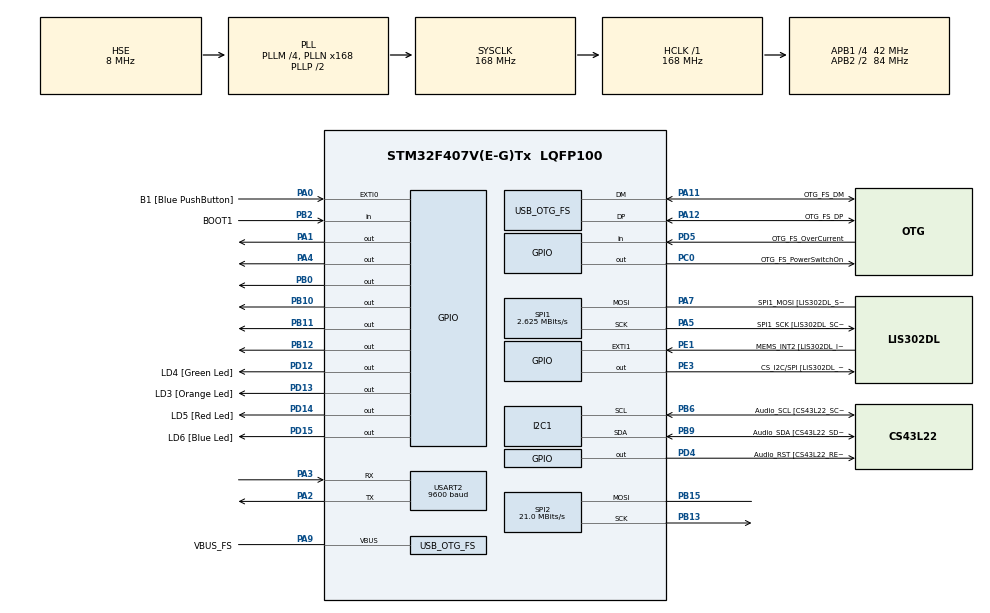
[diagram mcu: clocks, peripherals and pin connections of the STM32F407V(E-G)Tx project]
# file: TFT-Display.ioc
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Mcu.Family=STM32F4
Mcu.Name=STM32F407V(E-G)Tx
Mcu.Package=LQFP100
NVIC.OTG_FS_IRQn=true\:0\:0\:false\:false\:true\:true\:true\:true
NVIC.PriorityGroup=NVIC_PRIORITYGROUP_0
PA0-WKUP.GPIO_Label=B1 [Blue PushButton]
PA0-WKUP.GPIO_ModeDefaultEXTI=GPIO_MODE_EVT_RISING
PA0-WKUP.GPIO_PuPd=GPIO_NOPULL
PA0-WKUP.Signal=GPXTI0
PA1.Signal=GPIO_Output
PA10.GPIO_Label=OTG_FS_ID
PA10.GPIO_Mode=GPIO_MODE_AF_PP
PA10.GPIO_PuPd=GPIO_NOPULL
PA10.GPIO_Speed=GPIO_SPEED_FREQ_LOW
PA10.Signal=USB_OTG_FS_ID
PA11.GPIO_Label=OTG_FS_DM
PA11.GPIO_Mode=GPIO_MODE_AF_PP
PA11.GPIO_PuPd=GPIO_NOPULL
PA11.GPIO_Speed=GPIO_SPEED_FREQ_LOW
PA11.Mode=Host_Only
PA11.Signal=USB_OTG_FS_DM
PA12.GPIO_Label=OTG_FS_DP
PA12.GPIO_Mode=GPIO_MODE_AF_PP
PA12.GPIO_PuPd=GPIO_NOPULL
PA12.GPIO_Speed=GPIO_SPEED_FREQ_LOW
PA12.Mode=Host_Only
PA12.Signal=USB_OTG_FS_DP
PA13.GPIO_Label=SWDIO
PA13.Mode=Serial_Wire
PA13.Signal=SYS_JTMS-SWDIO
PA14.GPIO_Label=SWCLK
PA14.Mode=Serial_Wire
PA14.Signal=SYS_JTCK-SWCLK
PA2.Mode=Asynchronous
PA2.Signal=USART2_TX
PA3.Mode=Asynchronous
PA3.Signal=USART2_RX
PA4.Signal=GPIO_Output
PA5.GPIO_Label=SPI1_SCK [LIS302DL_SCL/SPC]
PA5.GPIO_Mode=GPIO_MODE_AF_PP
PA5.GPIO_PuPd=GPIO_NOPULL
PA5.GPIO_Speed=GPIO_SPEED_FREQ_LOW
PA5.Mode=Simplex_Bidirectional_Master
PA5.Signal=SPI1_SCK
PA6.GPIO_Label=SPI1_MISO [LIS302DL_SDO]
PA6.GPIO_Mode=GPIO_MODE_AF_PP
PA6.GPIO_PuPd=GPIO_NOPULL
PA6.GPIO_Speed=GPIO_SPEED_FREQ_LOW
PA6.Signal=SPI1_MISO
PA7.GPIO_Label=SPI1_MOSI [LIS302DL_SDA/SDI/SDO]
PA7.GPIO_Mode=GPIO_MODE_AF_PP
PA7.GPIO_PuPd=GPIO_NOPULL
PA7.GPIO_Speed=GPIO_SPEED_FREQ_LOW
PA7.Mode=Simplex_Bidirectional_Master
PA7.Signal=SPI1_MOSI
PA9.GPIO_Label=VBUS_FS
PA9.GPIO_Mode=GPIO_MODE_INPUT
PA9.GPIO_PuPd=GPIO_NOPULL
PA9.Mode=Activate_VBUS
PA9.Signal=USB_OTG_FS_VBUS
PB0.Signal=GPIO_Output
PB10.Signal=GPIO_Output
PB11.Signal=GPIO_Output
PB12.Signal=GPIO_Output
PB13.Mode=Simplex_Bidirectional_Master
PB13.Signal=SPI2_SCK
PB15.Mode=Simplex_Bidirectional_Master
PB15.Signal=SPI2_MOSI
PB2.GPIO_Label=BOOT1
PB2.GPIO_Mode=GPIO_MODE_INPUT
PB2.GPIO_PuPd=GPIO_NOPULL
PB2.Signal=GPIO_Input
PB3.GPIO_Label=SWO
PB3.Signal=SYS_JTDO-SWO
PB6.GPIO_Label=Audio_SCL [CS43L22_SCL]
PB6.GPIO_Mode=GPIO_MODE_AF_OD
PB6.GPIO_Pu=GPIO_PULLUP
PB6.GPIO_PuPd=GPIO_NOPULL
PB6.GPIO_Speed=GPIO_SPEED_FREQ_LOW
PB6.Mode=I2C
PB6.Signal=I2C1_SCL
PB9.GPIO_Label=Audio_SDA [CS43L22_SDA]
PB9.GPIO_Mode=GPIO_MODE_AF_OD
PB9.GPIO_Pu=GPIO_PULLUP
PB9.GPIO_PuPd=GPIO_NOPULL
PB9.GPIO_Speed=GPIO_SPEED_FREQ_LOW
PB9.Mode=I2C
PB9.Signal=I2C1_SDA
PC0.GPIO_Label=OTG_FS_PowerSwitchOn
PC0.GPIO_PuPd=GPIO_NOPULL
PC0.GPIO_Speed=GPIO_SPEED_FREQ_LOW
PC0.PinState=GPIO_PIN_SET
PC0.Signal=GPIO_Output
PC10.GPIO_Label=I2S3_SCK [CS43L22_SCLK]
PC10.GPIO_Mode=GPIO_MODE_AF_PP
PC10.GPIO_PuPd=GPIO_NOPULL
PC10.GPIO_Speed=GPIO_SPEED_FREQ_LOW
PC10.Signal=I2S3_CK
PC12.GPIO_Label=I2S3_SD [CS43L22_SDIN]
PC12.GPIO_Mode=GPIO_MODE_AF_PP
PC12.GPIO_PuPd=GPIO_NOPULL
PC12.GPIO_Speed=GPIO_SPEED_FREQ_LOW
PC12.Signal=I2S3_SD
PC14-OSC32_IN.GPIO_Label=PC14-OSC32_IN
PC14-OSC32_IN.Mode=LSE-External-Oscillator
PC14-OSC32_IN.Signal=RCC_OSC32_IN
PC15-OSC32_OUT.GPIO_Label=PC15-OSC32_OUT
PC15-OSC32_OUT.Mode=LSE-External-Oscillator
PC15-OSC32_OUT.Signal=RCC_OSC32_OUT
PC3.GPIO_Label=PDM_OUT [MP45DT02_DOUT]
PC3.GPIO_Mode=GPIO_MODE_AF_PP
PC3.GPIO_PuPd=GPIO_NOPULL
PC3.GPIO_Speed=GPIO_SPEED_FREQ_LOW
PC3.Signal=I2S2_SD
PC7.GPIO_Label=I2S3_MCK [CS43L22_MCLK]
PC7.GPIO_Mode=GPIO_MODE_AF_PP
PC7.GPIO_PuPd=GPIO_NOPULL
PC7.GPIO_Speed=GPIO_SPEED_FREQ_LOW
PC7.Signal=I2S3_MCK
PD12.GPIO_Label=LD4 [Green Led]
PD12.GPIO_PuPd=GPIO_NOPULL
PD12.GPIO_Speed=GPIO_SPEED_FREQ_LOW
PD12.Signal=GPIO_Output
PD13.GPIO_Label=LD3 [Orange Led]
PD13.GPIO_PuPd=GPIO_NOPULL
PD13.GPIO_Speed=GPIO_SPEED_FREQ_LOW
PD13.Signal=GPIO_Output
PD14.GPIO_Label=LD5 [Red Led]
PD14.GPIO_PuPd=GPIO_NOPULL
PD14.GPIO_Speed=GPIO_SPEED_FREQ_LOW
PD14.Signal=GPIO_Output
PD15.GPIO_Label=LD6 [Blue Led]
PD15.GPIO_PuPd=GPIO_NOPULL
PD15.GPIO_Speed=GPIO_SPEED_FREQ_LOW
PD15.Signal=GPIO_Output
PD4.GPIO_Label=Audio_RST [CS43L22_RESET]
PD4.GPIO_PuPd=GPIO_NOPULL
PD4.GPIO_Speed=GPIO_SPEED_FREQ_LOW
PD4.Signal=GPIO_Output
PD5.GPIO_Label=OTG_FS_OverCurrent
PD5.GPIO_Mode=GPIO_MODE_INPUT
PD5.GPIO_PuPd=GPIO_NOPULL
PD5.Signal=GPIO_Input
PE1.GPIO_Label=MEMS_INT2 [LIS302DL_INT2]
PE1.GPIO_ModeDefaultEXTI=GPIO_MODE_EVT_RISING
PE1.GPIO_PuPd=GPIO_NOPULL
PE1.Signal=GPXTI1
PE3.GPIO_Label=CS_I2C/SPI [LIS302DL_CS_I2C/SPI]
PE3.GPIO_PuPd=GPIO_NOPULL
PE3.GPIO_Speed=GPIO_SPEED_FREQ_LOW
PE3.Signal=GPIO_Output
PH0-OSC_IN.GPIO_Label=PH0-OSC_IN
PH0-OSC_IN.Mode=HSE-External-Oscillator
PH0-OSC_IN.Signal=RCC_OSC_IN
PH1-OSC_OUT.GPIO_Label=PH1-OSC_OUT
PH1-OSC_OUT.Mode=HSE-External-Oscillator
PH1-OSC_OUT.Signal=RCC_OSC_OUT
ProjectManager.HeapSize=0x200
ProjectManager.StackSize=0x400
ProjectManager.TargetToolchain=STM32CubeIDE
RCC.48MHZClocksFreq_Value=48000000
RCC.AHBFreq_Value=168000000
RCC.APB1CLKDivider=RCC_HCLK_DIV4
RCC.APB1Freq_Value=42000000
RCC.APB1TimFreq_Value=84000000
RCC.APB2CLKDivider=RCC_HCLK_DIV2
RCC.APB2Freq_Value=84000000
RCC.APB2TimFreq_Value=168000000
RCC.CortexFreq_Value=168000000
RCC.HCLKFreq_Value=168000000
RCC.HSE_VALUE=8000000
RCC.HSI_VALUE=16000000
RCC.PLLM=4
RCC.PLLN=168
RCC.PLLQ=7
RCC.SYSCLKFreq_VALUE=168000000
RCC.SYSCLKSource=RCC_SYSCLKSOURCE_PLLCLK
RCC.VCOOutputFreq_Value=336000000
SPI1.BaudRatePrescaler=SPI_BAUDRATEPRESCALER_32
SPI1.CalculateBaudRate=2.625 MBits/s
SPI1.Direction=SPI_DIRECTION_1LINE
SPI1.Mode=SPI_MODE_MASTER
SPI1.VirtualType=VM_MASTER
SPI2.CalculateBaudRate=21.0 MBits/s
SPI2.Direction=SPI_DIRECTION_1LINE
SPI2.Mode=SPI_MODE_MASTER
SPI2.VirtualType=VM_MASTER
USART2.BaudRate=9600
USART2.VirtualMode=VM_ASYNC
USB_HOST.BSP.number=1
USB_HOST.USBH_HandleTypeDef-CDC_FS=hUsbHostFS
USB_HOST.VirtualModeFS=Cdc
USB_HOST0.BSP.STBoard=false
USB_HOST0.BSP.api=Unknown
USB_HOST0.BSP.instance=PC0
USB_HOST0.BSP.ip=GPIO
USB_HOST0.BSP.mode=Output
USB_HOST0.BSP.name=Drive_VBUS_FS
USB_HOST0.BSP.solution=PC0
USB_OTG_FS.VirtualMode=Host_Only
USB_OTG_FS.phy_itface=HCD_PHY_EMBEDDED
VP_USB_HOST_VS_USB_HOST_CDC_FS.Mode=CDC_FS
board=STM32F407G-DISC1

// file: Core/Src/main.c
/* USER CODE BEGIN Header */
/**
 ******************************************************************************
 * @file           : main.c
 * @brief          : Main program body
 ******************************************************************************
 * @attention
 *
 * Copyright (c) 2025 STMicroelectronics.
 * All rights reserved.
 *
 * This software is licensed under terms that can be found in the LICENSE file
 * in the root directory of this software component.
 * If no LICENSE file comes with this software, it is provided AS-IS.
 *
 ******************************************************************************
 */
/* USER CODE END Header */
#include "main.h"
#include "usb_host.h"
#include "st7735.h"
#include "fonts.h"

I2C_HandleTypeDef hi2c1;

SPI_HandleTypeDef hspi1;
SPI_HandleTypeDef hspi2;

UART_HandleTypeDef huart2;

void SystemClock_Config(void);
static void MX_GPIO_Init(void);
static void MX_I2C1_Init(void);
static void MX_SPI1_Init(void);
static void MX_SPI2_Init(void);
static void MX_USART2_UART_Init(void);
void MX_USB_HOST_Process(void);

/* USER CODE BEGIN 0 */

void HelloWorld(void) {
	// This function can be used to print "Hello World!" to the console or display
	// For example, using UART:
	HAL_UART_Transmit(&huart2, (uint8_t*) "Hello World!\r\n", 15,
	HAL_MAX_DELAY);
	ST7735_WriteString(20, 60, "Hello World!", Font_7x10, ST7735_WHITE,
	ST7735_BLACK);
	HAL_Delay(1000); // Delay to see the message
}
void ST7735_Test(void) {
	// Ekran sınırlarını kontrol et
	ST7735_FillScreen(ST7735_BLACK);

	// Çerçeve çiz (ekranın çalıştığını doğrulamak için)
	for (int x = 0; x < ST7735_WIDTH; x++) {
		ST7735_DrawPixel(x, 0, ST7735_RED);
		ST7735_DrawPixel(x, ST7735_HEIGHT - 1, ST7735_RED);
	}

	for (int y = 0; y < ST7735_HEIGHT; y++) {
		ST7735_DrawPixel(0, y, ST7735_RED);
		ST7735_DrawPixel(ST7735_WIDTH - 1, y, ST7735_RED);
	}

	HAL_Delay(1000);

	// Farklı fontları test et
	ST7735_FillScreen(ST7735_BLACK);
	ST7735_WriteString(0, 0, "Font_7x10", Font_7x10, ST7735_RED, ST7735_BLACK);
	ST7735_WriteString(0, 3 * 10, "Font_11x18", Font_11x18, ST7735_GREEN,
	ST7735_BLACK);

	HAL_Delay(1000);

	// Farklı renkleri test et
	ST7735_FillScreen(ST7735_BLACK);
	ST7735_WriteString(0, 0, "SIYAH", Font_11x18, ST7735_WHITE, ST7735_BLACK);
	HAL_Delay(500);

	ST7735_FillScreen(ST7735_BLUE);
	ST7735_WriteString(0, 0, "MAVI", Font_11x18, ST7735_WHITE, ST7735_BLUE);
	HAL_Delay(500);

	ST7735_FillScreen(ST7735_RED);
	ST7735_WriteString(0, 0, "KIRMIZI", Font_11x18, ST7735_WHITE, ST7735_RED);
	HAL_Delay(500);

	ST7735_FillScreen(ST7735_GREEN);
	ST7735_WriteString(0, 0, "YESIL", Font_11x18, ST7735_BLACK, ST7735_GREEN);
	HAL_Delay(500);

	// Merhaba dünya mesajı
	ST7735_FillScreen(ST7735_BLACK);
	ST7735_WriteString(15, 10, "STM32F4", Font_11x18, ST7735_CYAN,
	ST7735_BLACK);
	ST7735_WriteString(10, 30, "TFT Display", Font_11x18, ST7735_GREEN,
	ST7735_BLACK);
	ST7735_WriteString(20, 60, "Merhaba", Font_11x18, ST7735_WHITE,
	ST7735_BLACK);
	ST7735_WriteString(35, 80, "Dunya!", Font_11x18, ST7735_YELLOW,
	ST7735_BLACK);

	// Tarih bilgisi
	char tarih[] = "Mart 2024";
	ST7735_WriteString(25, 110, tarih, Font_7x10, ST7735_RED, ST7735_BLACK);

	HAL_Delay(1000);
}

uint8_t ST7735_Check(void) {
	uint8_t status = 0;
	uint8_t id[4] = { 0 };

	// Set CS and DC pins
	HAL_GPIO_WritePin(GPIOA, GPIO_PIN_4, GPIO_PIN_RESET); // CS low (select)
	HAL_GPIO_WritePin(GPIOA, GPIO_PIN_1, GPIO_PIN_RESET); // DC low (command)

	// Send read ID command
	uint8_t cmd = 0x04; // RDDID command
	HAL_SPI_Transmit(&hspi1, &cmd, 1, HAL_MAX_DELAY);

	// Set DC high (data)
	HAL_GPIO_WritePin(GPIOA, GPIO_PIN_1, GPIO_PIN_SET);

	// Read ID bytes (manufacturer ID, module version ID, module ID)
	HAL_SPI_Receive(&hspi1, id, 3, HAL_MAX_DELAY);

	// Release CS
	HAL_GPIO_WritePin(GPIOA, GPIO_PIN_4, GPIO_PIN_SET);

	// Check manufacturer ID (typically 0x7C for ST7735)
	if (id[0] == 0x7C) {
		status = 1; // Display found
	}

	return status;
}

/* USER CODE END 0 */

int main(void) {

	/* MCU Configuration--------------------------------------------------------*/

	/* Reset of all peripherals, Initializes the Flash interface and the Systick. */
	HAL_Init();

	/* Configure the system clock */
	SystemClock_Config();

	/* Initialize all configured peripherals */
	MX_GPIO_Init();
	MX_I2C1_Init();
	MX_SPI1_Init();
	MX_USB_HOST_Init();
	MX_SPI2_Init();
	MX_USART2_UART_Init();
	/* USER CODE BEGIN 2 */

	// UART üzerinden bilgi mesajı
	HAL_UART_Transmit(&huart2, (uint8_t*) "ST7735 Testi Basliyor...\r\n", 26,
	HAL_MAX_DELAY);

	// SPI1'i bidirectional olarak yapılandır
	hspi1.Init.Direction = SPI_DIRECTION_2LINES;
	if (HAL_SPI_Init(&hspi1) != HAL_OK) {
		Error_Handler();
	}

	// Resetleme işlemini burada manuel olarak yap
	HAL_GPIO_WritePin(GPIOB, GPIO_PIN_0, GPIO_PIN_RESET);  // RESET low
	HAL_Delay(10);  // 10ms bekle
	HAL_GPIO_WritePin(GPIOB, GPIO_PIN_0, GPIO_PIN_SET);    // RESET high
	HAL_Delay(120); // 120ms bekle

	// Ekranı doğrudan başlat ve testi çalıştır
	ST7735_Init();
	ST7735_FillScreen(ST7735_BLACK);

	HAL_UART_Transmit(&huart2, (uint8_t*) "ST7735 Baslatildi\r\n", 20,
	HAL_MAX_DELAY);

	// Test programını çalıştır
	ST7735_Test();

	HAL_UART_Transmit(&huart2, (uint8_t*) "Test Tamamlandi\r\n", 18,
	HAL_MAX_DELAY);

	ST7735_WriteString(10, 10, "ST7735 Bulundu!", Font_11x18, ST7735_GREEN,
	ST7735_BLACK);
	ST7735_WriteString(20, 40, "Hello World!", Font_11x18, ST7735_WHITE,
	ST7735_BLACK);

	/* USER CODE END 2 */

	/* Infinite loop */
	/* USER CODE BEGIN WHILE */
	while (1) {
		MX_USB_HOST_Process();

		// Yanıp sönen bir metin ekleyelim
		static uint32_t lastTick = 0;
		static uint8_t toggle = 0;

		if (HAL_GetTick() - lastTick > 1000) {
			lastTick = HAL_GetTick();
			toggle = !toggle;

			if (toggle) {
				ST7735_WriteString(35, 130, "STM32", Font_7x10, ST7735_BLUE,
				ST7735_BLACK);
			} else {
				ST7735_WriteString(35, 130, "     ", Font_7x10, ST7735_BLUE,
				ST7735_BLACK);
			}
		}
	}
}

void SystemClock_Config(void) {
	RCC_OscInitTypeDef RCC_OscInitStruct = { 0 };
	RCC_ClkInitTypeDef RCC_ClkInitStruct = { 0 };

	/** Configure the main internal regulator output voltage
	 */
	__HAL_RCC_PWR_CLK_ENABLE();
	__HAL_PWR_VOLTAGESCALING_CONFIG(PWR_REGULATOR_VOLTAGE_SCALE1);

	/** Initializes the RCC Oscillators according to the specified parameters
	 * in the RCC_OscInitTypeDef structure.
	 */
	RCC_OscInitStruct.OscillatorType = RCC_OSCILLATORTYPE_HSE;
	RCC_OscInitStruct.HSEState = RCC_HSE_ON;
	RCC_OscInitStruct.PLL.PLLState = RCC_PLL_ON;
	RCC_OscInitStruct.PLL.PLLSource = RCC_PLLSOURCE_HSE;
	RCC_OscInitStruct.PLL.PLLM = 4;
	RCC_OscInitStruct.PLL.PLLN = 168;
	RCC_OscInitStruct.PLL.PLLP = RCC_PLLP_DIV2;
	RCC_OscInitStruct.PLL.PLLQ = 7;
	if (HAL_RCC_OscConfig(&RCC_OscInitStruct) != HAL_OK) {
		Error_Handler();
	}

	/** Initializes the CPU, AHB and APB buses clocks
	 */
	RCC_ClkInitStruct.ClockType = RCC_CLOCKTYPE_HCLK | RCC_CLOCKTYPE_SYSCLK
			| RCC_CLOCKTYPE_PCLK1 | RCC_CLOCKTYPE_PCLK2;
	RCC_ClkInitStruct.SYSCLKSource = RCC_SYSCLKSOURCE_PLLCLK;
	RCC_ClkInitStruct.AHBCLKDivider = RCC_SYSCLK_DIV1;
	RCC_ClkInitStruct.APB1CLKDivider = RCC_HCLK_DIV4;
	RCC_ClkInitStruct.APB2CLKDivider = RCC_HCLK_DIV2;

	if (HAL_RCC_ClockConfig(&RCC_ClkInitStruct, FLASH_LATENCY_5) != HAL_OK) {
		Error_Handler();
	}
}

static void MX_I2C1_Init(void) {

	hi2c1.Instance = I2C1;
	hi2c1.Init.ClockSpeed = 100000;
	hi2c1.Init.DutyCycle = I2C_DUTYCYCLE_2;
	hi2c1.Init.OwnAddress1 = 0;
	hi2c1.Init.AddressingMode = I2C_ADDRESSINGMODE_7BIT;
	hi2c1.Init.DualAddressMode = I2C_DUALADDRESS_DISABLE;
	hi2c1.Init.OwnAddress2 = 0;
	hi2c1.Init.GeneralCallMode = I2C_GENERALCALL_DISABLE;
	hi2c1.Init.NoStretchMode = I2C_NOSTRETCH_DISABLE;
	if (HAL_I2C_Init(&hi2c1) != HAL_OK) {
		Error_Handler();
	}

}

static void MX_SPI1_Init(void) {

	/* SPI1 parameter configuration*/
	hspi1.Instance = SPI1;
	hspi1.Init.Mode = SPI_MODE_MASTER;
	hspi1.Init.Direction = SPI_DIRECTION_2LINES; // Change to two-way communication
	hspi1.Init.DataSize = SPI_DATASIZE_8BIT;
	hspi1.Init.CLKPolarity = SPI_POLARITY_LOW;
	hspi1.Init.CLKPhase = SPI_PHASE_1EDGE;
	hspi1.Init.NSS = SPI_NSS_SOFT;
	hspi1.Init.BaudRatePrescaler = SPI_BAUDRATEPRESCALER_32;
	hspi1.Init.FirstBit = SPI_FIRSTBIT_MSB;
	hspi1.Init.TIMode = SPI_TIMODE_DISABLE;
	hspi1.Init.CRCCalculation = SPI_CRCCALCULATION_DISABLE;
	hspi1.Init.CRCPolynomial = 10;
	if (HAL_SPI_Init(&hspi1) != HAL_OK) {
		Error_Handler();
	}

}

static void MX_SPI2_Init(void) {

	/* SPI2 parameter configuration*/
	hspi2.Instance = SPI2;
	hspi2.Init.Mode = SPI_MODE_MASTER;
	hspi2.Init.Direction = SPI_DIRECTION_1LINE;
	hspi2.Init.DataSize = SPI_DATASIZE_8BIT;
	hspi2.Init.CLKPolarity = SPI_POLARITY_LOW;
	hspi2.Init.CLKPhase = SPI_PHASE_1EDGE;
	hspi2.Init.NSS = SPI_NSS_SOFT;
	hspi2.Init.BaudRatePrescaler = SPI_BAUDRATEPRESCALER_2;
	hspi2.Init.FirstBit = SPI_FIRSTBIT_MSB;
	hspi2.Init.TIMode = SPI_TIMODE_DISABLE;
	hspi2.Init.CRCCalculation = SPI_CRCCALCULATION_DISABLE;
	hspi2.Init.CRCPolynomial = 10;
	if (HAL_SPI_Init(&hspi2) != HAL_OK) {
		Error_Handler();
	}

}

static void MX_USART2_UART_Init(void) {

	huart2.Instance = USART2;
	huart2.Init.BaudRate = 9600;
	huart2.Init.WordLength = UART_WORDLENGTH_8B;
	huart2.Init.StopBits = UART_STOPBITS_1;
	huart2.Init.Parity = UART_PARITY_NONE;
	huart2.Init.Mode = UART_MODE_TX_RX;
	huart2.Init.HwFlowCtl = UART_HWCONTROL_NONE;
	huart2.Init.OverSampling = UART_OVERSAMPLING_16;
	if (HAL_UART_Init(&huart2) != HAL_OK) {
		Error_Handler();
	}

}

static void MX_GPIO_Init(void) {
	GPIO_InitTypeDef GPIO_InitStruct = { 0 };

	/* GPIO Ports Clock Enable */
	__HAL_RCC_GPIOE_CLK_ENABLE();
	__HAL_RCC_GPIOC_CLK_ENABLE();
	__HAL_RCC_GPIOH_CLK_ENABLE();
	__HAL_RCC_GPIOA_CLK_ENABLE();
	__HAL_RCC_GPIOB_CLK_ENABLE();
	__HAL_RCC_GPIOD_CLK_ENABLE();

	/*Configure GPIO pin Output Level */
	HAL_GPIO_WritePin(CS_I2C_SPI_GPIO_Port, CS_I2C_SPI_Pin, GPIO_PIN_RESET);

	/*Configure GPIO pin Output Level */
	HAL_GPIO_WritePin(OTG_FS_PowerSwitchOn_GPIO_Port,
	OTG_FS_PowerSwitchOn_Pin, GPIO_PIN_SET);

	/*Configure GPIO pin Output Level */
	HAL_GPIO_WritePin(GPIOA, GPIO_PIN_1 | GPIO_PIN_4, GPIO_PIN_RESET);

	/*Configure GPIO pin Output Level */
	HAL_GPIO_WritePin(GPIOB,
	GPIO_PIN_0 | GPIO_PIN_10 | GPIO_PIN_11 | GPIO_PIN_12, GPIO_PIN_RESET);

	/*Configure GPIO pin Output Level */
	HAL_GPIO_WritePin(GPIOD,
	LD4_Pin | LD3_Pin | LD5_Pin | LD6_Pin | Audio_RST_Pin, GPIO_PIN_RESET);

	/*Configure GPIO pin : CS_I2C_SPI_Pin */
	GPIO_InitStruct.Pin = CS_I2C_SPI_Pin;
	GPIO_InitStruct.Mode = GPIO_MODE_OUTPUT_PP;
	GPIO_InitStruct.Pull = GPIO_NOPULL;
	GPIO_InitStruct.Speed = GPIO_SPEED_FREQ_LOW;
	HAL_GPIO_Init(CS_I2C_SPI_GPIO_Port, &GPIO_InitStruct);

	/*Configure GPIO pin : OTG_FS_PowerSwitchOn_Pin */
	GPIO_InitStruct.Pin = OTG_FS_PowerSwitchOn_Pin;
	GPIO_InitStruct.Mode = GPIO_MODE_OUTPUT_PP;
	GPIO_InitStruct.Pull = GPIO_NOPULL;
	GPIO_InitStruct.Speed = GPIO_SPEED_FREQ_LOW;
	HAL_GPIO_Init(OTG_FS_PowerSwitchOn_GPIO_Port, &GPIO_InitStruct);

	/*Configure GPIO pin : PDM_OUT_Pin */
	GPIO_InitStruct.Pin = PDM_OUT_Pin;
	GPIO_InitStruct.Mode = GPIO_MODE_AF_PP;
	GPIO_InitStruct.Pull = GPIO_NOPULL;
	GPIO_InitStruct.Speed = GPIO_SPEED_FREQ_LOW;
	GPIO_InitStruct.Alternate = GPIO_AF5_SPI2;
	HAL_GPIO_Init(PDM_OUT_GPIO_Port, &GPIO_InitStruct);

	/*Configure GPIO pin : B1_Pin */
	GPIO_InitStruct.Pin = B1_Pin;
	GPIO_InitStruct.Mode = GPIO_MODE_EVT_RISING;
	GPIO_InitStruct.Pull = GPIO_NOPULL;
	HAL_GPIO_Init(B1_GPIO_Port, &GPIO_InitStruct);

	/*Configure GPIO pins : PA1 PA4 */
	GPIO_InitStruct.Pin = GPIO_PIN_1 | GPIO_PIN_4;
	GPIO_InitStruct.Mode = GPIO_MODE_OUTPUT_PP;
	GPIO_InitStruct.Pull = GPIO_NOPULL;
	GPIO_InitStruct.Speed = GPIO_SPEED_FREQ_LOW;
	HAL_GPIO_Init(GPIOA, &GPIO_InitStruct);

	/*Configure GPIO pins : PB0 PB10 PB11 PB12 */
	GPIO_InitStruct.Pin = GPIO_PIN_0 | GPIO_PIN_10 | GPIO_PIN_11 | GPIO_PIN_12;
	GPIO_InitStruct.Mode = GPIO_MODE_OUTPUT_PP;
	GPIO_InitStruct.Pull = GPIO_NOPULL;
	GPIO_InitStruct.Speed = GPIO_SPEED_FREQ_LOW;
	HAL_GPIO_Init(GPIOB, &GPIO_InitStruct);

	/*Configure GPIO pin : BOOT1_Pin */
	GPIO_InitStruct.Pin = BOOT1_Pin;
	GPIO_InitStruct.Mode = GPIO_MODE_INPUT;
	GPIO_InitStruct.Pull = GPIO_NOPULL;
	HAL_GPIO_Init(BOOT1_GPIO_Port, &GPIO_InitStruct);

	/*Configure GPIO pins : LD4_Pin LD3_Pin LD5_Pin LD6_Pin
	 Audio_RST_Pin */
	GPIO_InitStruct.Pin = LD4_Pin | LD3_Pin | LD5_Pin | LD6_Pin | Audio_RST_Pin;
	GPIO_InitStruct.Mode = GPIO_MODE_OUTPUT_PP;
	GPIO_InitStruct.Pull = GPIO_NOPULL;
	GPIO_InitStruct.Speed = GPIO_SPEED_FREQ_LOW;
	HAL_GPIO_Init(GPIOD, &GPIO_InitStruct);

	/*Configure GPIO pins : I2S3_MCK_Pin I2S3_SCK_Pin I2S3_SD_Pin */
	GPIO_InitStruct.Pin = I2S3_MCK_Pin | I2S3_SCK_Pin | I2S3_SD_Pin;
	GPIO_InitStruct.Mode = GPIO_MODE_AF_PP;
	GPIO_InitStruct.Pull = GPIO_NOPULL;
	GPIO_InitStruct.Speed = GPIO_SPEED_FREQ_LOW;
	GPIO_InitStruct.Alternate = GPIO_AF6_SPI3;
	HAL_GPIO_Init(GPIOC, &GPIO_InitStruct);

	/*Configure GPIO pin : OTG_FS_OverCurrent_Pin */
	GPIO_InitStruct.Pin = OTG_FS_OverCurrent_Pin;
	GPIO_InitStruct.Mode = GPIO_MODE_INPUT;
	GPIO_InitStruct.Pull = GPIO_NOPULL;
	HAL_GPIO_Init(OTG_FS_OverCurrent_GPIO_Port, &GPIO_InitStruct);

	/*Configure GPIO pin : MEMS_INT2_Pin */
	GPIO_InitStruct.Pin = MEMS_INT2_Pin;
	GPIO_InitStruct.Mode = GPIO_MODE_EVT_RISING;
	GPIO_InitStruct.Pull = GPIO_NOPULL;
	HAL_GPIO_Init(MEMS_INT2_GPIO_Port, &GPIO_InitStruct);

}

void Error_Handler(void) {
	__disable_irq();
	while (1) {
	}
}
